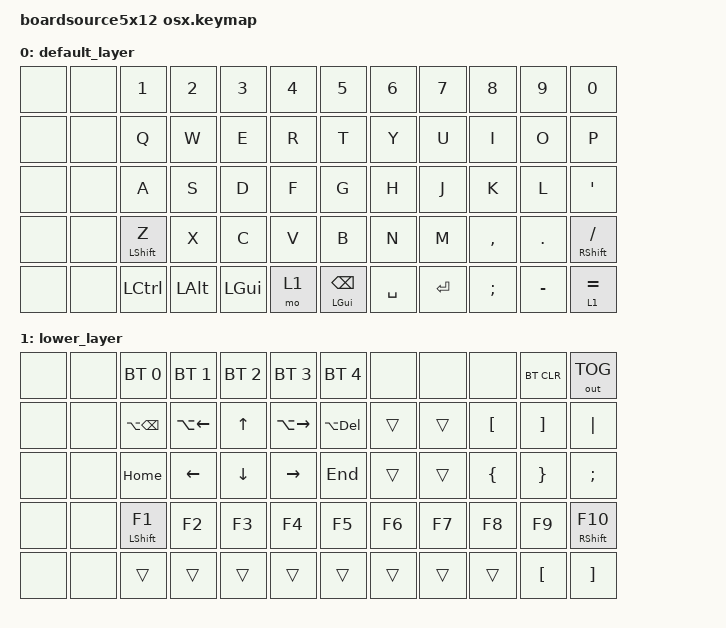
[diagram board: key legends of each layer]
/*
 * Copyright (c) 2021 The ZMK Contributors
 *
 * SPDX-License-Identifier: MIT
 */
 
#include <behaviors.dtsi>
#include <dt-bindings/zmk/keys.h>
#include <dt-bindings/zmk/bt.h>
#include <dt-bindings/zmk/outputs.h>

&mt {
    retro-tap;
};

/ {
	behaviors {
		sh: shift {
			compatible = "zmk,behavior-hold-tap";
			label = "shift mod";
			#binding-cells = <2>;
			tapping_term_ms = <150>;
			flavor = "hold-preferred";
			bindings = <&kp>, <&kp>;
		};
		hm: homerow_mods {
			compatible = "zmk,behavior-hold-tap";
			label = "homerow mods";
			#binding-cells = <2>;
			tapping_term_ms = <150>;
			flavor = "tap-preferred";
			bindings = <&kp>, <&kp>;
		};
		lp: lp_mod {
			compatible = "zmk,behavior-hold-tap";
			label = "lpmod";
			#binding-cells = <2>;
			tapping_term_ms = <150>;
			flavor = "tap-preferred";
			bindings = <&kp>, <&lparen>;
		};
		rp: rp_mod {
			compatible = "zmk,behavior-hold-tap";
			label = "rpmod";
			#binding-cells = <2>;
			tapping_term_ms = <150>;
			flavor = "tap-preferred";
			bindings = <&kp>, <&rparen>;
		};
		skq: sticky_key_quick_release {
			compatible = "zmk,behavior-sticky-key";
			label = "STICKY_KEY_QUICK_RELEASE";
			#binding-cells = <1>;
			bindings = <&kp>;
			quick-release;
			release-after-ms = <STICKY_KEY_TIMEOUT>;
		};

	};
	keymap {
		compatible = "zmk,keymap";

		default_layer {
			// ------------------------------------------------------------------------------------------
			// |  ESC  |  1   |  2   |  3   |  4   |  5   |   6   |  7    |  8   |  9   |   0   | BSPC  |
			// |  TAB  |  Q   |  W   |  E   |  R   |  T   |   Y   |  U    |  I   |  O   |   P   |  \    |
			// | SHIFT |  A   |  S   |  D   |  F   |  G   |   H   |  J    |  K   |  L   |   ;   |  '    |
			// | CTRL  |  Z   |  X   |  C   |  V   |  B   |   N   |  M    |  ,   |  .   |   /   | ENTER |
			// |ADJUST | LCTL | LALT | LGUI | LOWR | SPACE| SPACE |  RAIS | LARW | DARW | UARW  | RARW  |

			bindings = <
&none	&none	&kp N1		&kp N2		&kp N3		&kp N4	&kp N5		&kp N6		&kp N7		&kp N8		&kp N9 		&kp N0
&none	&none	&kp Q		&kp W		&kp E		&kp R	&kp T		&kp Y		&kp U		&kp I		&kp O		&kp P
&none	&none	&kp A		&kp S		&kp D		&kp F	&kp G		&kp H		&kp J		&kp K		&kp L		&kp SQT
&none	&none	&mt LSHIFT Z	&kp X		&kp C		&kp V	&kp B		&kp N		&kp M		&kp COMMA	&kp DOT		&mt RSHIFT FSLH
&none	&none	&kp LCTRL	&kp LALT	&kp LGUI	&mo 1	&mt LGUI BKSP	&kp SPACE	&kp ENTER	&kp SEMI	&kp MINUS	&lt 1 EQL
			>;
		};

		lower_layer {
			// -------------------------------------------------------------------------------------------
			// |  ESC  |  F2  |  F3  |  F4  |  F5  |  F6  |   F7  |  F8   |  F9  | F10  |  F11  |  F12  |
			// |   ~   |  !   |  @   |  #   |  $   |  %   |   ^   |	&   |  *   |  (   |   )   |  DEL  |
			// |       |  F1  |  F2  |  F3  |  F4  |  F5  |   F6  |   _   |  +   |  {   |   }   |   |   |
			// |       |  F7  |  F8  |  F9  |  F10 |  F11 |   F12 | LS(#) |LS(|) |      |       |       |
			// |       |      |      |      |      |      |       |       | NEXT | Vol- | Vol+ | PLAY   |
			bindings = <
&none	&none	&bt BT_SEL 0	&bt BT_SEL 1	&bt BT_SEL 2	&bt BT_SEL 3	&bt BT_SEL 4	&none	&none	&none		&bt BT_CLR	&out OUT_TOG	
&none	&none	&kp LA(BSPC)	&kp LA(LEFT)	&kp UP		&kp LA(RIGHT) 	&kp LA(DEL) 	&trans	&trans	&kp LBKT	&kp RBKT 	&kp PIPE	
&none	&none	&kp HOME 	&kp LEFT	&kp DOWN	&kp RIGHT	&kp END 	&trans	&trans	&kp LBRC	&kp RBRC	&kp SEMI	
&none	&none	&mt LSHIFT F1	&kp F2		&kp F3		&kp F4		&kp F5		&kp F6	&kp F7 	&kp F8 		&kp F9 		&mt RSHIFT F10
&none	&none	&trans		&trans		&trans		&trans		&trans		&trans 	&trans	&trans		&kp LBKT	&kp RBKT
			>;	 
		};
	};
	

	// ------------------------------------------------------------------------------------------
	// |  0	| 1 	||  2	|  3	|  4	|  5	|  6	|  7	|  8	|  9	| 10	| 11	| 
	// | 12	| 13	|| 14 	| 15	| 16	| 17	| 18	| 19	| 20	| 21	| 22 	| 23	|
	// | 24	| 25	|| 26	| 27	| 28	| 29	| 30	| 31	| 32	| 33	| 34	| 35	|
	// | 36	| 37	|| 38	| 39	| 40	| 41 	| 42	| 43	| 44	| 45	| 46	| 47	|
	// | 48	| 49	|| 50	| 51	| 52	| 53	| 54	| 55	| 56	| 57 	| 58	| 59 	| 


	// ------------------------------------------------------------------------------------------
	// Combos
	// ESC: QWERT
	// Tilde: QWE
	// Tab: QW
	// USB/BT: Bottom right and Q
	// BT 0-4: Bottom right and 1-5
	// Enter: L and '
	// Enter: j and k
	// 

	combos {
		compatible = "zmk,combos";
		combo_esc {
			timeout-ms = <50>;
			key-positions = <14 15 16 17>;
			bindings = <&kp ESC>;
		};
		combo_tilde {
			timeout-ms = <50>;
			key-positions = <14 15 16 >;
			bindings = <&kp TILDE>;
		};
		combo_tab {
			timeout-ms = <50>;
			key-positions = <14 15>;
			bindings = <&kp TAB>;
		};
		combo_output {
			timeout-ms = <50>;
			key-positions = <14 59>;
			bindings = <&out OUT_TOG>;
		};
		combo_bt0 {
			timeout-ms = <50>;
			key-positions = <2 59>;
			bindings = <&bt BT_SEL 0>;
		};	
		combo_bt1 {
			timeout-ms = <50>;
			key-positions = <3 59>;
			bindings = <&bt BT_SEL 1>;
		};
		combo_bt2 {
			timeout-ms = <50>;
			key-positions = <4 59>;
			bindings = <&bt BT_SEL 2>;
		};
		combo_bt3 {
			timeout-ms = <50>;
			key-positions = <5 59>;
			bindings = <&bt BT_SEL 3>;
		};
		combo_bt4 {
			timeout-ms = <50>;
			key-positions = <6 59>;
			bindings = <&bt BT_SEL 4>;
		};
		combo_other_enter {
			timeout-ms = <50>;
			key-positions = <34 35>;
			bindings = <&kp ENTER>;
		};
		combo_enter {
			timeout-ms = <50>;
			key-positions = <32 33>;
			bindings = <&kp ENTER>;
		};
		combo_delwd {
			timeout-ms = <50>;
			key-positions = <28 29>;
			bindings = <&kp LA(BSPC)>;
		};
		combo_cut {
			timeout-ms = <50>;
			key-positions = <38 39>;
			bindings = <&kp LG(X)>;
		};
		combo_copy {
			timeout-ms = <50>;
			key-positions = <39 40>;
			bindings = <&kp LG(C)>;
		};
		combo_paste{
			timeout-ms = <50>;
			key-positions = <40 41>;
			bindings = <&kp LG(V)>;
		};
	};
};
